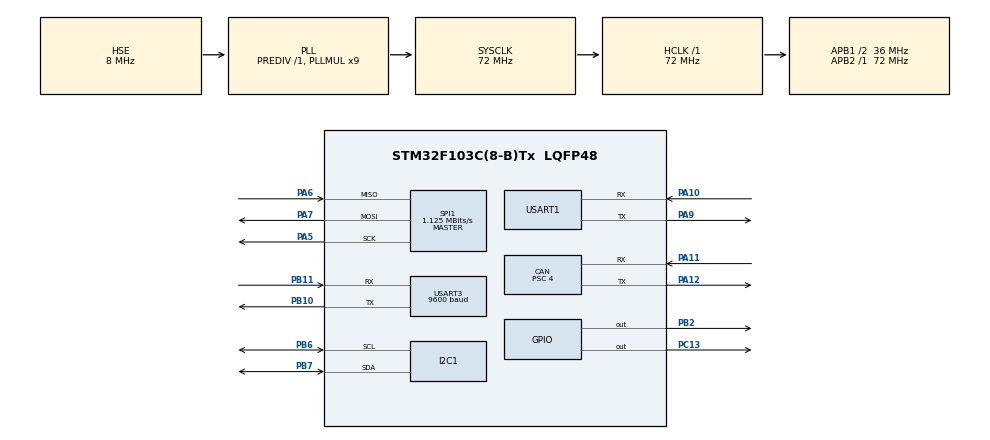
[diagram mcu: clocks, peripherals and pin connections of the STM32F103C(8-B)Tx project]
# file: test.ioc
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CAN.BS1=CAN_BS1_9TQ
CAN.BS2=CAN_BS2_8TQ
CAN.CalculateTimeBit=2000
CAN.CalculateTimeQuantum=111.11111111111111
CAN.Mode=CAN_MODE_LOOPBACK
CAN.NART=ENABLE
CAN.Prescaler=4
CAN.RFLM=ENABLE
CAN.SJW=CAN_SJW_4TQ
FREERTOS.BinarySemaphores01=canSem,Dynamic,NULL
FREERTOS.Queues01=uartbufQueue,16,uint16_t,0,Dynamic,NULL,NULL
FREERTOS.Tasks01=defaultTask,0,128,StartDefaultTask,Default,NULL,Dynamic,NULL,NULL;modbusTask,2,128,StartModbusTask,Default,NULL,Dynamic,NULL,NULL;printTask,0,128,StartPrintTask,Default,NULL,Dynamic,NULL,NULL;canTask,3,128,StartCanTask,As weak,NULL,Dynamic,NULL,NULL
FREERTOS.configUSE_TASK_NOTIFICATIONS=1
FREERTOS.configUSE_TIMERS=0
Mcu.Family=STM32F1
Mcu.Name=STM32F103C(8-B)Tx
Mcu.Package=LQFP48
Mcu.UserConstants=TIM3_PRESCALER,7199;TIM3_PERIOD,50
NVIC.PriorityGroup=NVIC_PRIORITYGROUP_4
NVIC.TIM2_IRQn=true\:5\:0\:false\:false\:true\:true\:true\:true
NVIC.TIM3_IRQn=true\:5\:0\:false\:false\:true\:true\:true\:true
NVIC.USART1_IRQn=true\:5\:0\:false\:false\:true\:true\:true\:true
NVIC.USART3_IRQn=true\:5\:0\:false\:false\:true\:true\:true\:false
NVIC.USB_LP_CAN1_RX0_IRQn=true\:5\:0\:false\:false\:true\:true\:true\:true
PA10.Mode=Asynchronous
PA10.Signal=USART1_RX
PA11.Mode=Master
PA11.Signal=CAN_RX
PA12.Mode=Master
PA12.Signal=CAN_TX
PA13.Mode=Serial_Wire
PA13.Signal=SYS_JTMS-SWDIO
PA14.Mode=Serial_Wire
PA14.Signal=SYS_JTCK-SWCLK
PA5.Mode=Full_Duplex_Master
PA5.Signal=SPI1_SCK
PA6.Mode=Full_Duplex_Master
PA6.Signal=SPI1_MISO
PA7.Mode=Full_Duplex_Master
PA7.Signal=SPI1_MOSI
PA9.Mode=Asynchronous
PA9.Signal=USART1_TX
PB10.Mode=Asynchronous
PB10.Signal=USART3_TX
PB11.Mode=Asynchronous
PB11.Signal=USART3_RX
PB2.Signal=GPIO_Output
PB6.Mode=I2C
PB6.Signal=I2C1_SCL
PB7.Mode=I2C
PB7.Signal=I2C1_SDA
PC13-TAMPER-RTC.PinState=GPIO_PIN_SET
PC13-TAMPER-RTC.Signal=GPIO_Output
PD0-OSC_IN.Mode=HSE-External-Oscillator
PD0-OSC_IN.Signal=RCC_OSC_IN
PD1-OSC_OUT.Mode=HSE-External-Oscillator
PD1-OSC_OUT.Signal=RCC_OSC_OUT
ProjectManager.HeapSize=0x200
ProjectManager.StackSize=0x400
ProjectManager.TargetToolchain=MDK-ARM V5.27
RCC.AHBFreq_Value=72000000
RCC.APB1CLKDivider=RCC_HCLK_DIV2
RCC.APB1Freq_Value=36000000
RCC.APB1TimFreq_Value=72000000
RCC.APB2Freq_Value=72000000
RCC.APB2TimFreq_Value=72000000
RCC.HCLKFreq_Value=72000000
RCC.PLLMUL=RCC_PLL_MUL9
RCC.PLLSourceVirtual=RCC_PLLSOURCE_HSE
RCC.SYSCLKFreq_VALUE=72000000
RCC.SYSCLKSource=RCC_SYSCLKSOURCE_PLLCLK
RCC.USBFreq_Value=72000000
SPI1.BaudRatePrescaler=SPI_BAUDRATEPRESCALER_64
SPI1.CalculateBaudRate=1.125 MBits/s
SPI1.Direction=SPI_DIRECTION_2LINES
SPI1.Mode=SPI_MODE_MASTER
SPI1.VirtualType=VM_MASTER
TIM2.Period=10
TIM2.Prescaler=8999
TIM3.Period=TIM3_PERIOD
TIM3.Prescaler=TIM3_PRESCALER
USART1.VirtualMode=VM_ASYNC
USART3.BaudRate=9600
USART3.VirtualMode=VM_ASYNC
VP_FREERTOS_VS_CMSIS_V1.Mode=CMSIS_V1
VP_TIM2_VS_ClockSourceINT.Mode=Internal
VP_TIM3_VS_ClockSourceINT.Mode=Internal
board=custom

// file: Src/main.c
/* USER CODE BEGIN Header */
/**
  ******************************************************************************
  * @file           : main.c
  * @brief          : Main program body
  ******************************************************************************
  * @attention
  *
  * <h2><center>&copy; Copyright (c) 2020 STMicroelectronics.
  * All rights reserved.</center></h2>
  *
  * This software component is licensed by ST under BSD 3-Clause license,
  * the "License"; You may not use this file except in compliance with the
  * License. You may obtain a copy of the License at:
  *                        opensource.org/licenses/BSD-3-Clause
  *
  ******************************************************************************
  */
/* USER CODE END Header */

#include "main.h"
#include "cmsis_os.h"
#include "can.h"
#include "i2c.h"
#include "spi.h"
#include "tim.h"
#include "usart.h"
#include "gpio.h"

/* USER CODE BEGIN PM */
//IAP Start 0x8004000 Size 0x6000
#define IAP_Enable 0
/* USER CODE END PM */

void SystemClock_Config(void);
void MX_FREERTOS_Init(void);

int main(void)
{
  /* USER CODE BEGIN 1 */
	if(IAP_Enable) SCB->VTOR = FLASH_BASE | 0x4000;
  /* USER CODE END 1 */

  /* MCU Configuration--------------------------------------------------------*/

  /* Reset of all peripherals, Initializes the Flash interface and the Systick. */
  HAL_Init();

  /* Configure the system clock */
  SystemClock_Config();

  /* Initialize all configured peripherals */
  MX_GPIO_Init();
  MX_USART1_UART_Init();
  MX_CAN_Init();
  MX_I2C1_Init();
  MX_TIM2_Init();
  MX_SPI1_Init();
  MX_TIM3_Init();
  MX_USART3_UART_Init();
  /* USER CODE BEGIN 2 */
	//TIMER-----------------------------------------------
	//清理TIM开启时的中断标识
	__HAL_TIM_CLEAR_IT(&htim2, TIM_IT_UPDATE);

	//UART------------------------------------------------
	while(HAL_UART_Receive_IT(&huart1,RxBuf,1) != HAL_OK)
	{
		HAL_UART_Transmit(&huart1, (uint8_t *)&"Uart1 ERROR\r\n",13,1000);
	}
	HAL_UART_Transmit(&huart1, (uint8_t *)&"Uart1 Succ!\r\n",13,1000);
	U16_RecvLength = 0;
	Bool_RecvComplete = False;
	//CAN-------------------------------------------------
	Can_Filter_Config();
	Can_Start();

	eMBInit(MB_RTU, 0x01, 3, 9600, MB_PAR_NONE);
	eMBEnable();

  /* USER CODE END 2 */

  /* Call init function for freertos objects (in freertos.c) */
  MX_FREERTOS_Init();

  /* Start scheduler */
  osKernelStart();

  /* We should never get here as control is now taken by the scheduler */

  /* Infinite loop */
  while (1)
  {

    /* USER CODE BEGIN 3 */
		//uint8_t test[10] = "test123456";
		//HAL_UART_Transmit(&huart1,test,4,1000);
//		(void)eMBPoll();
//
//		if(Bool_RecvComplete)
//		{
//			HAL_GPIO_WritePin(GPIOC,GPIO_PIN_13,GPIO_PIN_RESET);
//			Bool_RecvComplete = False;
//			HAL_UART_Transmit(&huart1,Str_RecvBuf,U16_RecvLength,1000);
//			while(HAL_UART_Receive_IT(&huart1,RxBuf,1) != HAL_OK)
//			{
//				HAL_UART_Transmit(&huart1, (uint8_t *)&"Uart1 Error\r\n",13,1000);
//				HAL_Delay(100);
//			}
//			HAL_GPIO_WritePin(GPIOC,GPIO_PIN_13,GPIO_PIN_SET);
//		}
//
//		Can_TxMsg();
//		U16_RecvLength = 0;
//		HAL_I2C_Master_Transmit(&hi2c1,0xA0,(uint8_t*)&("asdfgh"),4,10);
  }
  /* USER CODE END 3 */
}

void SystemClock_Config(void)
{
  RCC_OscInitTypeDef RCC_OscInitStruct = {0};
  RCC_ClkInitTypeDef RCC_ClkInitStruct = {0};

  /** Initializes the CPU, AHB and APB busses clocks
  */
  RCC_OscInitStruct.OscillatorType = RCC_OSCILLATORTYPE_HSE;
  RCC_OscInitStruct.HSEState = RCC_HSE_ON;
  RCC_OscInitStruct.HSEPredivValue = RCC_HSE_PREDIV_DIV1;
  RCC_OscInitStruct.HSIState = RCC_HSI_ON;
  RCC_OscInitStruct.PLL.PLLState = RCC_PLL_ON;
  RCC_OscInitStruct.PLL.PLLSource = RCC_PLLSOURCE_HSE;
  RCC_OscInitStruct.PLL.PLLMUL = RCC_PLL_MUL9;
  if (HAL_RCC_OscConfig(&RCC_OscInitStruct) != HAL_OK)
  {
    Error_Handler();
  }
  /** Initializes the CPU, AHB and APB busses clocks
  */
  RCC_ClkInitStruct.ClockType = RCC_CLOCKTYPE_HCLK|RCC_CLOCKTYPE_SYSCLK
                              |RCC_CLOCKTYPE_PCLK1|RCC_CLOCKTYPE_PCLK2;
  RCC_ClkInitStruct.SYSCLKSource = RCC_SYSCLKSOURCE_PLLCLK;
  RCC_ClkInitStruct.AHBCLKDivider = RCC_SYSCLK_DIV1;
  RCC_ClkInitStruct.APB1CLKDivider = RCC_HCLK_DIV2;
  RCC_ClkInitStruct.APB2CLKDivider = RCC_HCLK_DIV1;

  if (HAL_RCC_ClockConfig(&RCC_ClkInitStruct, FLASH_LATENCY_2) != HAL_OK)
  {
    Error_Handler();
  }
}

void Error_Handler(void)
{
}

/************************ (C) COPYRIGHT STMicroelectronics *****END OF FILE****/

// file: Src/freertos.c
/* USER CODE BEGIN Header */
/**
  ******************************************************************************
  * File Name          : freertos.c
  * Description        : Code for freertos applications
  ******************************************************************************
  * @attention
  *
  * <h2><center>&copy; Copyright (c) 2020 STMicroelectronics.
  * All rights reserved.</center></h2>
  *
  * This software component is licensed by ST under Ultimate Liberty license
  * SLA0044, the "License"; You may not use this file except in compliance with
  * the License. You may obtain a copy of the License at:
  *                             www.st.com/SLA0044
  *
  ******************************************************************************
  */
/* USER CODE END Header */

#include "FreeRTOS.h"
#include "task.h"
#include "main.h"
#include "cmsis_os.h"

/* USER CODE BEGIN Includes */
#include "can.h"
#include "i2c.h"
#include "spi.h"
#include "tim.h"
#include "usart.h"
#include "gpio.h"
/* USER CODE END Includes */

osThreadId defaultTaskHandle;
osThreadId modbusTaskHandle;
osThreadId printTaskHandle;
osThreadId canTaskHandle;
osMessageQId uartbufQueueHandle;
osSemaphoreId canSemHandle;

void StartDefaultTask(void const * argument);
void StartModbusTask(void const * argument);
void StartPrintTask(void const * argument);
void StartCanTask(void const * argument);

void MX_FREERTOS_Init(void); /* (MISRA C 2004 rule 8.1) */

/* GetIdleTaskMemory prototype (linked to static allocation support) */
void vApplicationGetIdleTaskMemory( StaticTask_t **ppxIdleTaskTCBBuffer, StackType_t **ppxIdleTaskStackBuffer, uint32_t *pulIdleTaskStackSize );

/* USER CODE BEGIN GET_IDLE_TASK_MEMORY */
static StaticTask_t xIdleTaskTCBBuffer;
static StackType_t xIdleStack[configMINIMAL_STACK_SIZE];

void vApplicationGetIdleTaskMemory( StaticTask_t **ppxIdleTaskTCBBuffer, StackType_t **ppxIdleTaskStackBuffer, uint32_t *pulIdleTaskStackSize )
{
  *ppxIdleTaskTCBBuffer = &xIdleTaskTCBBuffer;
  *ppxIdleTaskStackBuffer = &xIdleStack[0];
  *pulIdleTaskStackSize = configMINIMAL_STACK_SIZE;
  /* place for user code */
}
/* USER CODE END GET_IDLE_TASK_MEMORY */

void MX_FREERTOS_Init(void) {

  /* Create the semaphores(s) */
  /* definition and creation of canSem */
  osSemaphoreDef(canSem);
  canSemHandle = osSemaphoreCreate(osSemaphore(canSem), 1);

  /* Create the queue(s) */
  /* definition and creation of uartbufQueue */
  osMessageQDef(uartbufQueue, 16, uint16_t);
  uartbufQueueHandle = osMessageCreate(osMessageQ(uartbufQueue), NULL);

  /* Create the thread(s) */
  /* definition and creation of defaultTask */
  osThreadDef(defaultTask, StartDefaultTask, osPriorityNormal, 0, 128);
  defaultTaskHandle = osThreadCreate(osThread(defaultTask), NULL);

  /* definition and creation of modbusTask */
  osThreadDef(modbusTask, StartModbusTask, osPriorityHigh, 0, 128);
  modbusTaskHandle = osThreadCreate(osThread(modbusTask), NULL);

  /* definition and creation of printTask */
  osThreadDef(printTask, StartPrintTask, osPriorityNormal, 0, 128);
  printTaskHandle = osThreadCreate(osThread(printTask), NULL);

  /* definition and creation of canTask */
  osThreadDef(canTask, StartCanTask, osPriorityRealtime, 0, 128);
  canTaskHandle = osThreadCreate(osThread(canTask), NULL);

}

void StartDefaultTask(void const * argument)
{
  /* USER CODE BEGIN StartDefaultTask */
  /* Infinite loop */
  for(;;)
  {
    osDelay(10);
  }
  /* USER CODE END StartDefaultTask */
}

void StartModbusTask(void const * argument)
{
  /* USER CODE BEGIN StartModbusTask */
  /* Infinite loop */
  for(;;)
  {
		(void)eMBPoll();
    osDelay(1);
  }
  /* USER CODE END StartModbusTask */
}

void StartPrintTask(void const * argument)
{
  /* USER CODE BEGIN StartPrintTask */
  /* Infinite loop */
  for(;;)
  {
		if(Bool_RecvComplete)
		{
			HAL_GPIO_WritePin(GPIOC,GPIO_PIN_13,GPIO_PIN_RESET);
			Bool_RecvComplete = False;
			HAL_UART_Transmit(&huart1,Str_RecvBuf,U16_RecvLength,1000);
			while(HAL_UART_Receive_IT(&huart1,RxBuf,1) != HAL_OK)
			{
				HAL_UART_Transmit(&huart1, (uint8_t *)&"Uart1 Error\r\n",13,1000);
				HAL_Delay(100);
			}
			HAL_GPIO_WritePin(GPIOC,GPIO_PIN_13,GPIO_PIN_SET);
			U16_RecvLength = 0;
			osSemaphoreRelease(canSemHandle);
		}
    osDelay(10);
  }
  /* USER CODE END StartPrintTask */
}

__weak void StartCanTask(void const * argument)
{
  /* USER CODE BEGIN StartCanTask */
  /* Infinite loop */
  for(;;)
  {
		osSemaphoreWait(canSemHandle,osWaitForever);
		Can_TxMsg();
		//osSemaphoreCreate(canSemHandle, 1);
//
//		HAL_I2C_Master_Transmit(&hi2c1,0xA0,(uint8_t*)&("asdfgh"),4,10);

    osDelay(100);
  }
  /* USER CODE END StartCanTask */
}

/************************ (C) COPYRIGHT STMicroelectronics *****END OF FILE****/
